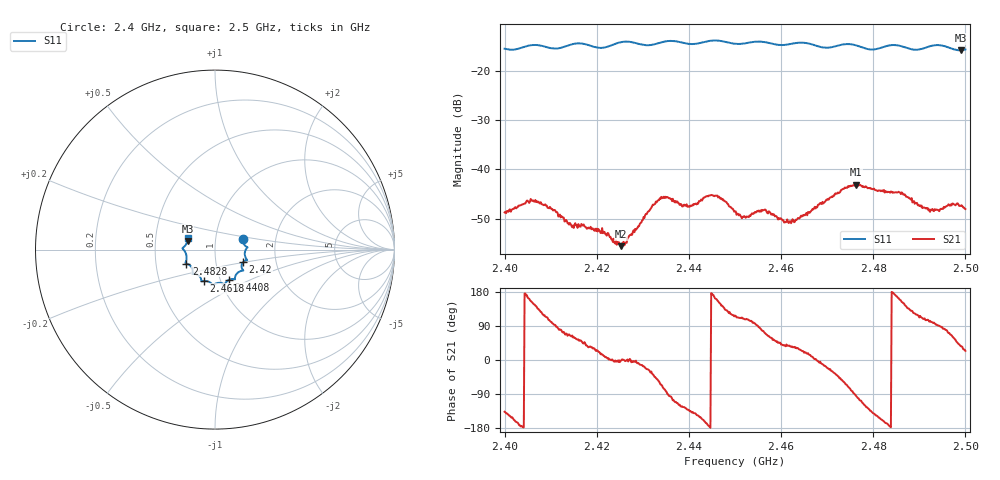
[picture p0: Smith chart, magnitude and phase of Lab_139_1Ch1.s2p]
# Hz S RI R 50
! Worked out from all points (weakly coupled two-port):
!   601 points, 2.4 GHz to 2.5 GHz, reference 50 ohm
!   highest |S21| = -43.14 dB at 2.4762 GHz (marker M1); lowest = -55.6 dB at 2.4252 GHz (marker M2)
!   lowest |S11| = -15.9 dB at 2.499 GHz (marker M3), VSWR 1.38, Z = 36.6 + j3.6 ohm
!   |S11| at or under -10 dB: start of sweep to end of sweep
!   S12 and S22 are empty: the file has one direction only
!   S11 on the Smith chart (normalised r, x): 2.4 GHz: 1.35, +0.17; 2.42 GHz: 1.36, -0.19; 2.4408 GHz: 1.10, -0.38; 2.4618 GHz: 0.83, -0.30; 2.4828 GHz: 0.72, -0.11; 2.5 GHz: 0.73, +0.09
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2.4e9  0.1548 0.0614  -0.00265 -0.00252  0 0  0 0
2.406167e9  0.1811 0.0128  -0.00417 0.00246  0 0  0 0
2.4145e9  0.1763 -0.0539  0.00125 0.00236  0 0  0 0
2.416667e9  0.1787 -0.0587  0.0018 0.00214  0 0  0 0
2.42e9  0.1569 -0.069  0.00225 0.00109  0 0  0 0
2.425167e9  0.1562 -0.1147  0.00166 -7.69e-05  0 0  0 0
2.433333e9  0.1116 -0.1528  0.00284 -0.00394  0 0  0 0
2.435e9  0.1114 -0.1636  0.000683 -0.0051  0 0  0 0
2.440833e9  0.0778 -0.1687  -0.00316 -0.00292  0 0  0 0
2.445667e9  0.0528 -0.1949  -0.00516 0.00163  0 0  0 0
2.45e9  0.027 -0.1849  -0.00172 0.00334  0 0  0 0
2.452e9  0.00634 -0.1882  -0.00102 0.0032  0 0  0 0
2.456333e9  -0.0146 -0.1941  0.00113 0.00371  0 0  0 0
2.461833e9  -0.0612 -0.1749  0.00234 0.00182  0 0  0 0
2.466667e9  -0.076 -0.1683  0.0038 0.0006  0 0  0 0
2.476167e9  -0.1252 -0.1306  -0.000371 -0.00695  0 0  0 0
2.482833e9  -0.1592 -0.0776  -0.00578 -0.00135  0 0  0 0
2.483333e9  -0.1621 -0.0767  -0.00584 -0.000818  0 0  0 0
2.486e9  -0.1631 -0.069  -0.00516 0.00219  0 0  0 0
2.4925e9  -0.1774 0.00205  -0.000733 0.00383  0 0  0 0
2.499e9  -0.1531 0.0479  0.00343 0.00251  0 0  0 0
2.5e9  -0.1512 0.0628  0.00361 0.00161  0 0  0 0
